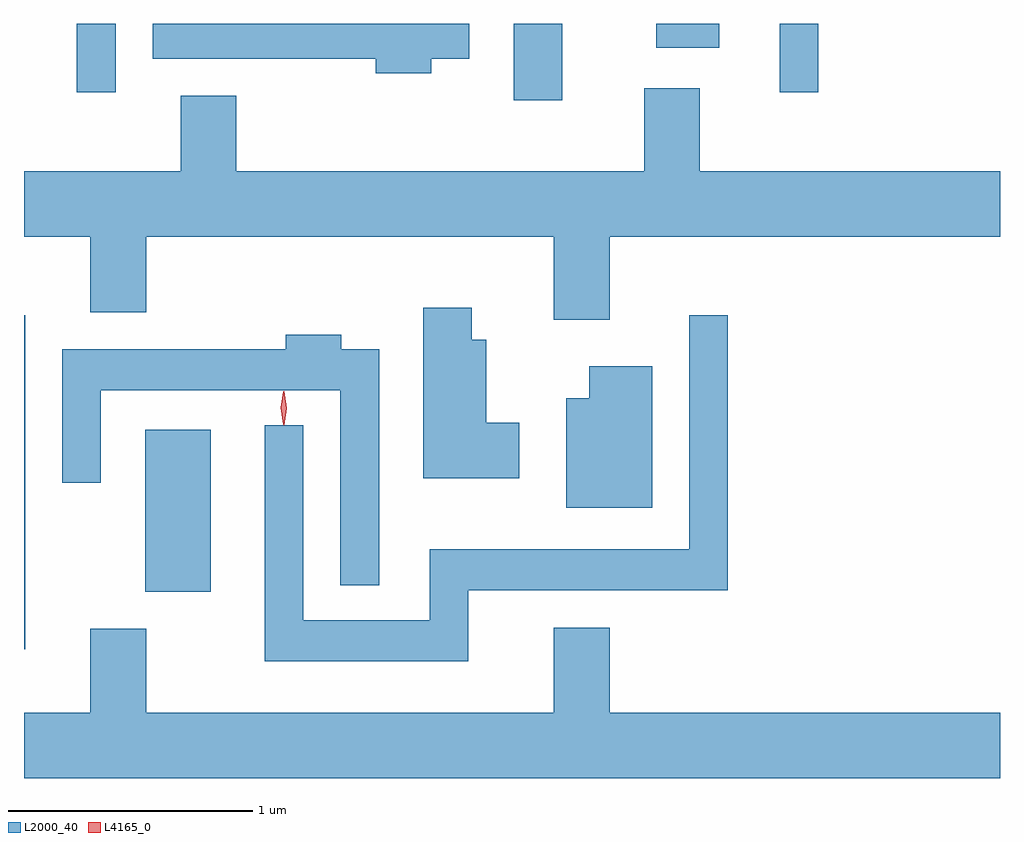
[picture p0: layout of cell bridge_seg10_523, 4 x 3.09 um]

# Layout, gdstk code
import gdstk
lib = gdstk.Library(unit=1e-6, precision=1e-09)
def R(c, l, rs):  # rectangles x0, y0, x1, y1
    for r in rs: c.add(gdstk.rectangle(r[:2], r[2:], *l))
def P(c, l, *ps):  # polygons
    for p in ps: c.add(gdstk.Polygon(p, *l))
L2000_40 = (2000, 40)
L4165_0 = (4165, 0)

bridge_seg10_523 = lib.new_cell('bridge_seg10_523')
R(bridge_seg10_523, L2000_40, [(787.159,2167.726,787.164,2169.093), (787.656,2167.961,787.924,2168.624), (789.166,2169.976,789.364,2170.289), (787.376,2170.008,787.534,2170.289), (790.256,2170.008,790.414,2170.289), (789.751,2170.191,790.009,2170.289)])
P(bridge_seg10_523, L2000_40, [(788.829,2170.146),(788.984,2170.146),(788.984,2170.289),(787.686,2170.289),(787.686,2170.146),(788.601,2170.146),(788.601,2170.086),(788.829,2170.086)],
  [(789.559,2169.416),(791.159,2169.416),(791.159,2169.684),(789.929,2169.684),(789.929,2170.024),(789.701,2170.024),(789.701,2169.684),(788.029,2169.684),(788.029,2169.994),(787.801,2169.994),(787.801,2169.684),(787.159,2169.684),(787.159,2169.416),(787.431,2169.416),(787.431,2169.106),(787.659,2169.106),(787.659,2169.416),(789.331,2169.416),(789.331,2169.076),(789.559,2169.076)],
  [(789.189,2168.654),(789.054,2168.654),(789.054,2168.994),(788.994,2168.994),(788.994,2169.124),(788.796,2169.124),(788.796,2168.426),(789.189,2168.426)],
  [(788.979,2167.966),(790.044,2167.966),(790.044,2169.093),(789.886,2169.093),(789.886,2168.134),(788.821,2168.134),(788.821,2167.844),(788.304,2167.844),(788.304,2168.643),(788.146,2168.643),(788.146,2167.676),(788.979,2167.676)],
  [(788.614,2168.954),(788.459,2168.954),(788.459,2169.014),(788.231,2169.014),(788.231,2168.954),(787.316,2168.954),(787.316,2168.408),(787.474,2168.408),(787.474,2168.786),(788.456,2168.786),(788.456,2167.988),(788.614,2167.988)],
  [(789.734,2168.884),(789.476,2168.884),(789.476,2168.754),(789.381,2168.754),(789.381,2168.306),(789.734,2168.306)],
  [(791.159,2167.464),(789.559,2167.464),(789.559,2167.814),(789.331,2167.814),(789.331,2167.464),(787.659,2167.464),(787.659,2167.809),(787.431,2167.809),(787.431,2167.464),(787.159,2167.464),(787.159,2167.196),(791.159,2167.196)])
P(bridge_seg10_523, L4165_0, [(788.224,2168.644),(788.215,2168.713),(788.224,2168.782),(788.225,2168.783),(788.225,2168.782),(788.235,2168.713),(788.225,2168.644),(788.225,2168.644)],
  [(788.222,2168.647),(788.222,2168.648),(788.212,2168.714),(788.222,2168.78),(788.222,2168.78),(788.223,2168.78),(788.232,2168.714),(788.223,2168.648)])

lib.write_gds('bridge_seg10_523.gds')
